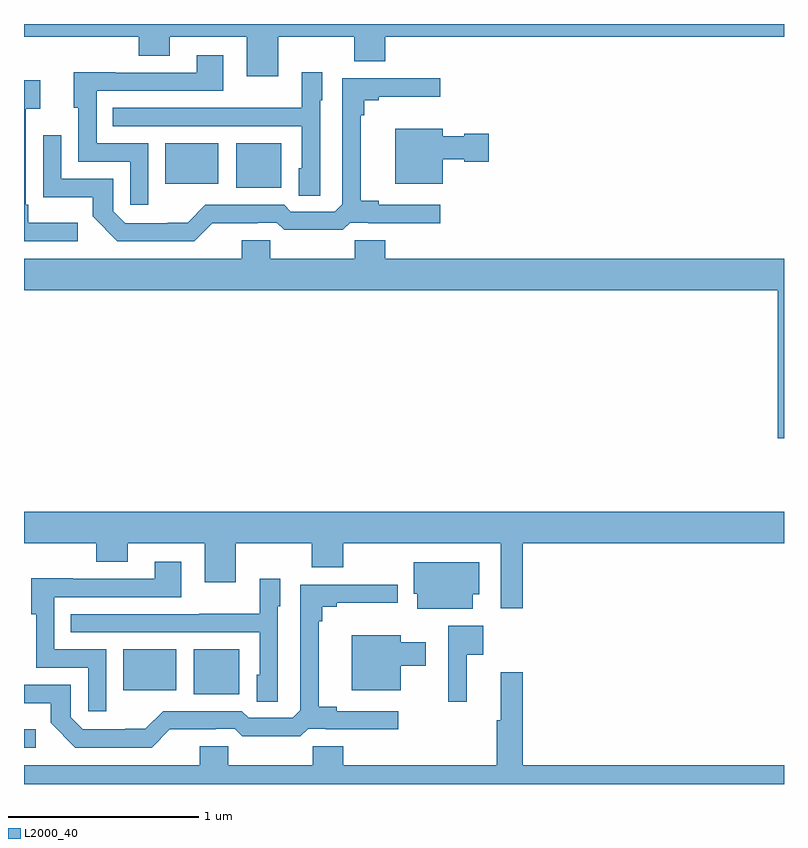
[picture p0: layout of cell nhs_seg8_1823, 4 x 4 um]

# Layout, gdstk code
import gdstk
lib = gdstk.Library(unit=1e-6, precision=1e-09)
def R(c, l, rs):  # rectangles x0, y0, x1, y1
    for r in rs: c.add(gdstk.rectangle(r[:2], r[2:], *l))
def P(c, l, *ps):  # polygons
    for p in ps: c.add(gdstk.Polygon(p, *l))
L2000_40 = (2000, 40)

nhs_seg8_1823 = lib.new_cell('nhs_seg8_1823')
R(nhs_seg8_1823, L2000_40, [(227,1114.092,227.062,1114.189), (227.894,1114.373,228.133,1114.609), (227.522,1114.394,227.8,1114.609), (228.116,1117.037,228.355,1117.273), (227.744,1117.058,228.022,1117.273)])
P(nhs_seg8_1823, L2000_40, [(228.337,1117.832),(228.737,1117.832),(228.737,1117.704),(228.901,1117.704),(228.901,1117.832),(231,1117.832),(231,1117.9),(227,1117.9),(227,1117.832),(227.603,1117.832),(227.603,1117.733),(227.767,1117.733),(227.767,1117.832),(228.173,1117.832),(228.173,1117.626),(228.337,1117.626)],
  [(227.655,1117.272),(227.382,1117.272),(227.382,1117.548),(228.049,1117.548),(228.049,1117.735),(227.909,1117.735),(227.909,1117.644),(227.479,1117.644),(227.479,1117.646),(227.261,1117.646),(227.261,1117.458),(227.286,1117.458),(227.286,1117.176),(227.559,1117.176),(227.559,1116.948),(227.655,1116.948)],
  [(228.558,1117.5),(228.571,1117.5),(228.571,1117.645),(228.462,1117.645),(228.462,1117.459),(228.145,1117.459),(228.145,1117.458),(227.467,1117.458),(227.467,1117.362),(228.462,1117.362),(228.462,1117.14),(228.446,1117.14),(228.446,1116.997),(228.558,1116.997)],
  [(227.99,1116.851),(228.23,1116.851),(228.23,1116.855),(228.33,1116.855),(228.37,1116.816),(228.677,1116.816),(228.717,1116.855),(228.811,1116.855),(228.811,1116.851),(229.192,1116.851),(229.192,1116.948),(228.868,1116.948),(228.868,1116.971),(228.773,1116.971),(228.773,1117.421),(228.791,1117.421),(228.791,1117.498),(228.868,1117.498),(228.868,1117.517),(229.192,1117.517),(229.192,1117.614),(228.675,1117.614),(228.675,1116.951),(228.636,1116.912),(228.405,1116.912),(228.369,1116.948),(227.955,1116.948),(227.861,1116.854),(227.756,1116.854),(227.756,1116.852),(227.532,1116.852),(227.469,1116.915),(227.469,1117.086),(227.196,1117.086),(227.196,1117.315),(227.1,1117.315),(227.1,1116.989),(227.362,1116.989),(227.362,1116.887),(227.492,1116.756),(227.895,1116.756)],
  [(227.284,1116.853),(227.023,1116.853),(227.023,1116.949),(227.01,1116.949),(227.01,1117.454),(227.086,1117.454),(227.086,1117.603),(227,1117.603),(227,1116.756),(227.284,1116.756)],
  [(229.204,1117.187),(229.317,1117.187),(229.317,1117.175),(229.447,1117.175),(229.447,1117.322),(229.317,1117.322),(229.317,1117.309),(229.204,1117.309),(229.204,1117.348),(228.953,1117.348),(228.953,1117.058),(229.204,1117.058)],
  [(231,1116.664),(228.902,1116.664),(228.902,1116.762),(228.742,1116.762),(228.742,1116.664),(228.297,1116.664),(228.297,1116.762),(228.146,1116.762),(228.146,1116.664),(227,1116.664),(227,1116.5),(230.966,1116.5),(230.966,1115.721),(231,1115.721)],
  [(229.625,1115.168),(231,1115.168),(231,1115.332),(227,1115.332),(227,1115.168),(227.381,1115.168),(227.381,1115.069),(227.545,1115.069),(227.545,1115.168),(227.951,1115.168),(227.951,1114.962),(228.115,1114.962),(228.115,1115.168),(228.515,1115.168),(228.515,1115.04),(228.679,1115.04),(228.679,1115.168),(229.509,1115.168),(229.509,1114.824),(229.625,1114.824)],
  [(227.433,1114.608),(227.16,1114.608),(227.16,1114.884),(227.827,1114.884),(227.827,1115.071),(227.687,1115.071),(227.687,1114.98),(227.257,1114.98),(227.257,1114.982),(227.039,1114.982),(227.039,1114.794),(227.064,1114.794),(227.064,1114.512),(227.337,1114.512),(227.337,1114.284),(227.433,1114.284)],
  [(229.363,1114.898),(229.396,1114.898),(229.396,1115.068),(229.052,1115.068),(229.052,1114.902),(229.07,1114.902),(229.07,1114.823),(229.363,1114.823)],
  [(228.336,1114.836),(228.349,1114.836),(228.349,1114.981),(228.24,1114.981),(228.24,1114.795),(227.923,1114.795),(227.923,1114.794),(227.245,1114.794),(227.245,1114.698),(228.24,1114.698),(228.24,1114.476),(228.224,1114.476),(228.224,1114.333),(228.336,1114.333)],
  [(227.768,1114.187),(228.008,1114.187),(228.008,1114.191),(228.108,1114.191),(228.148,1114.152),(228.455,1114.152),(228.495,1114.191),(228.589,1114.191),(228.589,1114.187),(228.97,1114.187),(228.97,1114.284),(228.646,1114.284),(228.646,1114.307),(228.55,1114.307),(228.55,1114.757),(228.569,1114.757),(228.569,1114.834),(228.646,1114.834),(228.646,1114.853),(228.967,1114.853),(228.967,1114.95),(228.453,1114.95),(228.453,1114.287),(228.414,1114.248),(228.183,1114.248),(228.147,1114.284),(227.733,1114.284),(227.639,1114.19),(227.534,1114.19),(227.534,1114.188),(227.31,1114.188),(227.247,1114.251),(227.247,1114.422),(227,1114.422),(227,1114.325),(227.14,1114.325),(227.14,1114.223),(227.27,1114.092),(227.673,1114.092)],
  [(229.331,1114.58),(229.417,1114.58),(229.417,1114.732),(229.233,1114.732),(229.233,1114.332),(229.331,1114.332)],
  [(228.982,1114.523),(229.114,1114.523),(229.114,1114.645),(228.982,1114.645),(228.982,1114.684),(228.725,1114.684),(228.725,1114.394),(228.982,1114.394)],
  [(231,1114),(229.625,1114),(229.625,1114.489),(229.508,1114.489),(229.508,1114.236),(229.489,1114.236),(229.489,1114),(228.68,1114),(228.68,1114.098),(228.52,1114.098),(228.52,1114),(228.075,1114),(228.075,1114.098),(227.924,1114.098),(227.924,1114),(227,1114),(227,1113.9),(231,1113.9)])

lib.write_gds('nhs_seg8_1823.gds')
